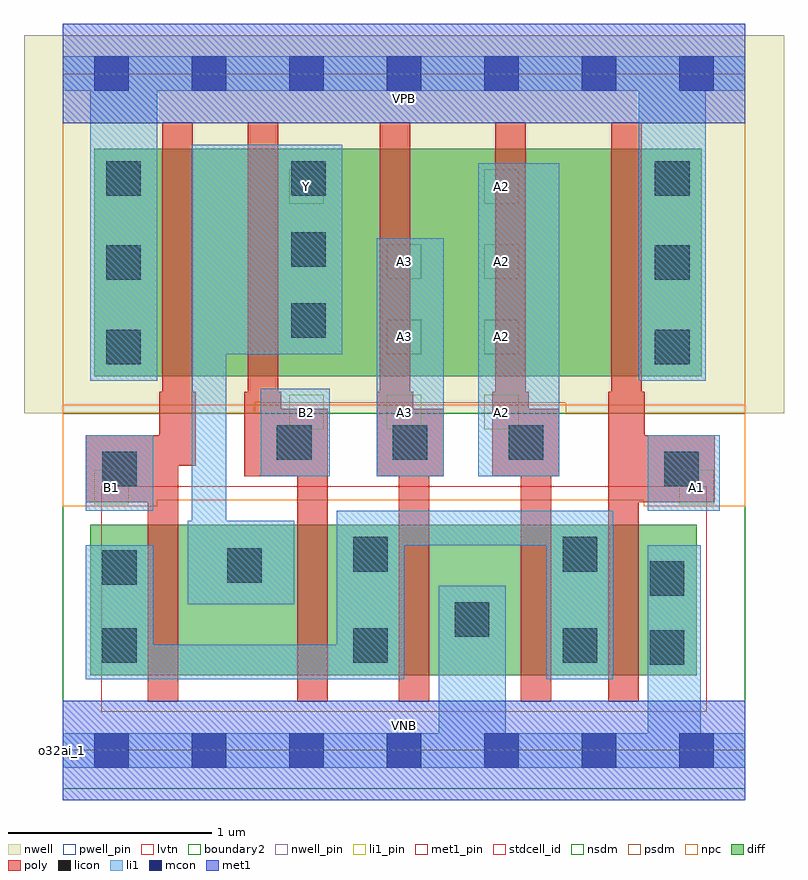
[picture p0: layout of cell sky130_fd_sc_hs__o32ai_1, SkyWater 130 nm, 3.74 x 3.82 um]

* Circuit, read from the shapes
.subckt sky130_fd_sc_hs__o32ai_1 A1 A2 A3 B1 B2 VGND VNB VPB VPWR Y
XM1 Y B1 n1 VNB sky130_fd_pr__nfet_01v8_lvt w=0.74 l=0.15
XM2 n1 B2 Y VNB sky130_fd_pr__nfet_01v8_lvt w=0.74 l=0.15
XM3 VGND A3 n1 VNB sky130_fd_pr__nfet_01v8_lvt w=0.74 l=0.15
XM4 n1 A2 VGND VNB sky130_fd_pr__nfet_01v8_lvt w=0.74 l=0.15
XM5 VGND A1 n1 VNB sky130_fd_pr__nfet_01v8_lvt w=0.74 l=0.15
XM6 n2 B1 VPWR VPB sky130_fd_pr__pfet_01v8 w=1.12 l=0.15
XM7 Y B2 n2 VPB sky130_fd_pr__pfet_01v8 w=1.12 l=0.15
XM8 n3 A3 Y VPB sky130_fd_pr__pfet_01v8 w=1.12 l=0.15
XM9 n4 A2 n3 VPB sky130_fd_pr__pfet_01v8 w=1.12 l=0.15
XM10 VPWR A1 n4 VPB sky130_fd_pr__pfet_01v8 w=1.12 l=0.15
.ends

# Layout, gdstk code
import gdstk
lib = gdstk.Library(unit=1e-6, precision=1e-09)
def R(c, l, rs):  # rectangles x0, y0, x1, y1
    for r in rs: c.add(gdstk.rectangle(r[:2], r[2:], *l))
def A(c, l, x, y, w, h, nx, ny, dx, dy):  # array of equal rectangles
    R(c, l, [(x+i*dx, y+j*dy, x+i*dx+w, y+j*dy+h) for i in range(nx) for j in range(ny)])
def P(c, l, *ps):  # polygons
    for p in ps: c.add(gdstk.Polygon(p, *l))
nwell_pin = (64, 16)
nwell = (64, 20)
diff = (65, 20)
poly = (66, 20)
licon = (66, 44)
li1_pin = (67, 16)
li1 = (67, 20)
mcon = (67, 44)
met1_pin = (68, 16)
met1 = (68, 20)
stdcell_id = (81, 4)
nsdm = (93, 44)
psdm = (94, 20)
npc = (95, 20)
pwell_pin = (122, 16)
lvtn = (125, 44)
boundary2 = (236, 0)

sky130_fd_sc_hs__o32ai_1 = lib.new_cell('sky130_fd_sc_hs__o32ai_1')
R(sky130_fd_sc_hs__o32ai_1, nwell_pin, [(0,3.085,3.36,3.33)])
R(sky130_fd_sc_hs__o32ai_1, nwell, [(-0.19,1.66,3.55,3.52)])
R(sky130_fd_sc_hs__o32ai_1, diff, [(0.135,0.37,3.12,1.11), (0.155,1.84,3.145,2.96)])
P(sky130_fd_sc_hs__o32ai_1, poly, [(0.655,1.765),(0.64,1.765),(0.64,3.09),(0.49,3.09),(0.49,1.765),(0.475,1.765),(0.475,1.55),(0.115,1.55),(0.115,1.22),(0.42,1.22),(0.42,0.24),(0.57,0.24),(0.57,1.4),(0.655,1.4)],
  [(1.305,1.68),(1.075,1.68),(1.075,1.765),(1.06,1.765),(1.06,3.09),(0.91,3.09),(0.91,1.765),(0.895,1.765),(0.895,1.35),(1.155,1.35),(1.155,0.24),(1.305,0.24)],
  [(1.875,1.68),(1.725,1.68),(1.725,1.765),(1.71,1.765),(1.71,3.09),(1.56,3.09),(1.56,1.765),(1.545,1.765),(1.545,1.35),(1.655,1.35),(1.655,0.24),(1.805,0.24),(1.805,1.35),(1.875,1.35)],
  [(2.445,1.68),(2.295,1.68),(2.295,1.765),(2.28,1.765),(2.28,3.09),(2.13,3.09),(2.13,1.765),(2.115,1.765),(2.115,1.35),(2.255,1.35),(2.255,0.24),(2.405,0.24),(2.405,1.35),(2.445,1.35)],
  [(3.21,1.55),(2.865,1.55),(2.865,1.765),(2.85,1.765),(2.85,3.09),(2.7,3.09),(2.7,1.765),(2.685,1.765),(2.685,0.24),(2.835,0.24),(2.835,1.22),(3.21,1.22)])
A(sky130_fd_sc_hs__o32ai_1, licon, 1.055, 1.43, 0.17, 0.17, 3, 1, 0.57, 0)
A(sky130_fd_sc_hs__o32ai_1, licon, 0.215, 1.9, 0.17, 0.17, 1, 3, 0, 0.415)
A(sky130_fd_sc_hs__o32ai_1, licon, 2.915, 1.9, 0.17, 0.17, 1, 3, 0, 0.415)
A(sky130_fd_sc_hs__o32ai_1, licon, 1.125, 2.03, 0.17, 0.17, 1, 3, 0, 0.35)
R(sky130_fd_sc_hs__o32ai_1, licon, [(2.89,0.42,3.06,0.59), (0.195,0.43,0.365,0.6), (1.43,0.43,1.6,0.6), (2.46,0.43,2.63,0.6), (1.93,0.56,2.1,0.73), (2.89,0.76,3.06,0.93), (0.195,0.815,0.365,0.985), (0.81,0.825,0.98,0.995), (1.43,0.88,1.6,1.05), (2.46,0.88,2.63,1.05), (0.195,1.3,0.365,1.47), (2.96,1.3,3.13,1.47)])
A(sky130_fd_sc_hs__o32ai_1, li1_pin, 1.115, 1.58, 0.17, 0.17, 3, 1, 0.48, 0)
A(sky130_fd_sc_hs__o32ai_1, li1_pin, 2.075, 1.95, 0.17, 0.17, 1, 3, 0, 0.37)
R(sky130_fd_sc_hs__o32ai_1, li1_pin, [(0.155,1.21,0.325,1.38), (3.035,1.21,3.205,1.38), (1.595,1.95,1.765,2.12), (1.595,2.32,1.765,2.49), (1.115,2.69,1.285,2.86)])
R(sky130_fd_sc_hs__o32ai_1, li1, [(0.115,1.18,0.445,1.55), (2.88,1.18,3.235,1.55), (0.975,1.35,1.315,1.78), (1.545,1.35,1.875,2.52), (2.045,1.35,2.445,2.89)])
P(sky130_fd_sc_hs__o32ai_1, li1, [(0,-0.085),(0,0.085),(1.85,0.085),(1.85,0.81),(2.18,0.81),(2.18,0.085),(2.88,0.085),(2.88,1.01),(3.14,1.01),(3.14,0.085),(3.36,0.085),(3.36,-0.085)],
  [(0,3.245),(0,3.415),(3.36,3.415),(3.36,3.245),(3.165,3.245),(3.165,1.82),(2.835,1.82),(2.835,3.245),(0.465,3.245),(0.465,1.82),(0.135,1.82),(0.135,3.245)],
  [(0.635,2.98),(1.375,2.98),(1.375,1.95),(0.805,1.95),(0.805,1.13),(1.14,1.13),(1.14,0.72),(0.615,0.72),(0.615,1.13),(0.635,1.13)],
  [(0.445,0.52),(1.35,0.52),(1.35,1.18),(2.71,1.18),(2.71,0.35),(2.38,0.35),(2.38,1.01),(1.68,1.01),(1.68,0.35),(0.115,0.35),(0.115,1.01),(0.445,1.01)])
A(sky130_fd_sc_hs__o32ai_1, mcon, 0.155, -0.085, 0.17, 0.17, 7, 2, 0.48, 3.33)
R(sky130_fd_sc_hs__o32ai_1, met1_pin, [(0,0,3.36,0.245), (0,3.085,3.36,3.33)])
R(sky130_fd_sc_hs__o32ai_1, met1, [(0,-0.245,3.36,0.245), (0,3.085,3.36,3.575)])
R(sky130_fd_sc_hs__o32ai_1, stdcell_id, [(0,0,3.36,3.33)])
R(sky130_fd_sc_hs__o32ai_1, nsdm, [(0,-0.19,3.36,1.66)])
P(sky130_fd_sc_hs__o32ai_1, psdm, [(3.36,3.52),(0,3.52),(0,1.66),(0.945,1.66),(0.945,1.71),(2.475,1.71),(2.475,1.66),(3.36,1.66)])
P(sky130_fd_sc_hs__o32ai_1, npc, [(3.36,1.7),(0,1.7),(0,1.2),(0.465,1.2),(0.465,1.23),(2.86,1.23),(2.86,1.2),(3.36,1.2)])
R(sky130_fd_sc_hs__o32ai_1, pwell_pin, [(0,0,3.36,0.245)])
R(sky130_fd_sc_hs__o32ai_1, lvtn, [(0.19,0.19,3.17,1.3)])
R(sky130_fd_sc_hs__o32ai_1, boundary2, [(0,0,3.36,3.33)])
sky130_fd_sc_hs__o32ai_1.add(gdstk.Label('o32ai_1', (0,0), layer=83, texttype=44))
sky130_fd_sc_hs__o32ai_1.add(gdstk.Label('VNB', (1.68,0.123), layer=64, texttype=59))
sky130_fd_sc_hs__o32ai_1.add(gdstk.Label('VPB', (1.68,3.208), layer=64, texttype=5))
sky130_fd_sc_hs__o32ai_1.add(gdstk.Label('VPWR', (1.68,3.208), layer=68, texttype=5))
sky130_fd_sc_hs__o32ai_1.add(gdstk.Label('VGND', (1.68,0.123), layer=68, texttype=5))
sky130_fd_sc_hs__o32ai_1.add(gdstk.Label('Y', (1.2,2.775), layer=67, texttype=5))
sky130_fd_sc_hs__o32ai_1.add(gdstk.Label('B2', (1.2,1.665), layer=67, texttype=5))
sky130_fd_sc_hs__o32ai_1.add(gdstk.Label('B1', (0.24,1.295), layer=67, texttype=5))
sky130_fd_sc_hs__o32ai_1.add(gdstk.Label('A3', (1.68,1.665), layer=67, texttype=5))
sky130_fd_sc_hs__o32ai_1.add(gdstk.Label('A3', (1.68,2.035), layer=67, texttype=5))
sky130_fd_sc_hs__o32ai_1.add(gdstk.Label('A3', (1.68,2.405), layer=67, texttype=5))
sky130_fd_sc_hs__o32ai_1.add(gdstk.Label('A2', (2.16,1.665), layer=67, texttype=5))
sky130_fd_sc_hs__o32ai_1.add(gdstk.Label('A2', (2.16,2.035), layer=67, texttype=5))
sky130_fd_sc_hs__o32ai_1.add(gdstk.Label('A2', (2.16,2.405), layer=67, texttype=5))
sky130_fd_sc_hs__o32ai_1.add(gdstk.Label('A2', (2.16,2.775), layer=67, texttype=5))
sky130_fd_sc_hs__o32ai_1.add(gdstk.Label('A1', (3.12,1.295), layer=67, texttype=5))

lib.write_gds('sky130_fd_sc_hs__o32ai_1.gds')
